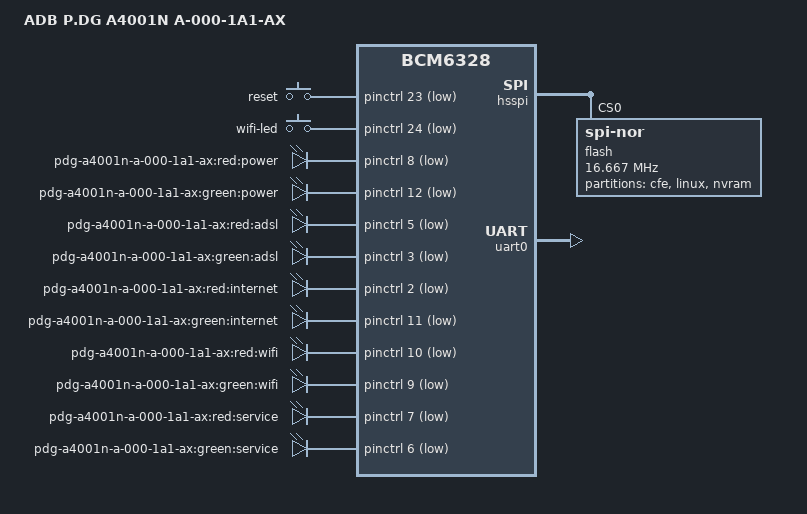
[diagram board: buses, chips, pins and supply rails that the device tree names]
// SPDX-License-Identifier: GPL-2.0-or-later OR MIT
/dts-v1/;

#include "bcm6328.dtsi"

#include <dt-bindings/input/input.h>

/ {
	model = "ADB P.DG A4001N A-000-1A1-AX";
	compatible = "adb,pdg-a4001n-a-000-1a1-ax", "brcm,bcm6328";

	chosen {
		bootargs = "rootfstype=squashfs,jffs2 noinitrd console=ttyS0,115200";
		stdout-path = "serial0:115200n8";
	};

	keys {
		compatible = "gpio-keys-polled";
		#address-cells = <1>;
		#size-cells = <0>;
		poll-interval = <20>;

		reset {
			label = "reset";
			gpios = <&pinctrl 23 1>;
			linux,code = <KEY_RESTART>;
			debounce-interval = <60>;
		};

		wps {
			label = "wifi-led";
			gpios = <&pinctrl 24 1>;
			linux,code = <KEY_WPS_BUTTON>;
			debounce-interval = <60>;
		};
	};

	leds {
		compatible = "gpio-leds";

		power_red {
			label = "pdg-a4001n-a-000-1a1-ax:red:power";
			gpios = <&pinctrl 8 1>;
		};
		power_green {
			label = "pdg-a4001n-a-000-1a1-ax:green:power";
			gpios = <&pinctrl 12 1>;
			default-state = "on";
		};
		
		adsl_red {
			label = "pdg-a4001n-a-000-1a1-ax:red:adsl";
			gpios = <&pinctrl 5 1>;
		};
		adsl_green {
			label = "pdg-a4001n-a-000-1a1-ax:green:adsl";
			gpios = <&pinctrl 3 1>;
		};
		
		internet_red {
			label = "pdg-a4001n-a-000-1a1-ax:red:internet";
			gpios = <&pinctrl 2 1>;
		};
		internet_green {
			label = "pdg-a4001n-a-000-1a1-ax:green:internet";
			gpios = <&pinctrl 11 1>;
		};
		
		wifi_red {
			label = "pdg-a4001n-a-000-1a1-ax:red:wifi";
			gpios = <&pinctrl 10 1>;
		};
		wifi_green {
			label = "pdg-a4001n-a-000-1a1-ax:green:wifi";
			gpios = <&pinctrl 9 1>;
		};
		
		service_red {
			label = "pdg-a4001n-a-000-1a1-ax:red:service";
			gpios = <&pinctrl 7 1>;
		};
		service_green {
			label = "pdg-a4001n-a-000-1a1-ax:green:service";
			gpios = <&pinctrl 6 1>;
		};
	};
};

&hsspi {
	status = "okay";

	flash@0 {
		compatible = "jedec,spi-nor";
		spi-max-frequency = <16666667>;
		spi-tx-bus-width = <2>;
		spi-rx-bus-width = <2>;
		reg = <0>;

		#address-cells = <1>;
		#size-cells = <1>;

		partitions {
			compatible = "fixed-partitions";
			#address-cells = <1>;
			#size-cells = <1>;

			cfe@0 {
				reg = <0x000000 0x010000>;
				label = "cfe";
				read-only;
			};

			linux@10000 {
				reg = <0x010000 0xfe0000>;
				label = "linux";
				compatible = "brcm,bcm963xx-imagetag";
			};

			nvram@ff0000 {
				reg = <0xff0000 0x010000>;
				label = "nvram";
			};
		};
	};
};

&uart0 {
	status = "okay";
};
